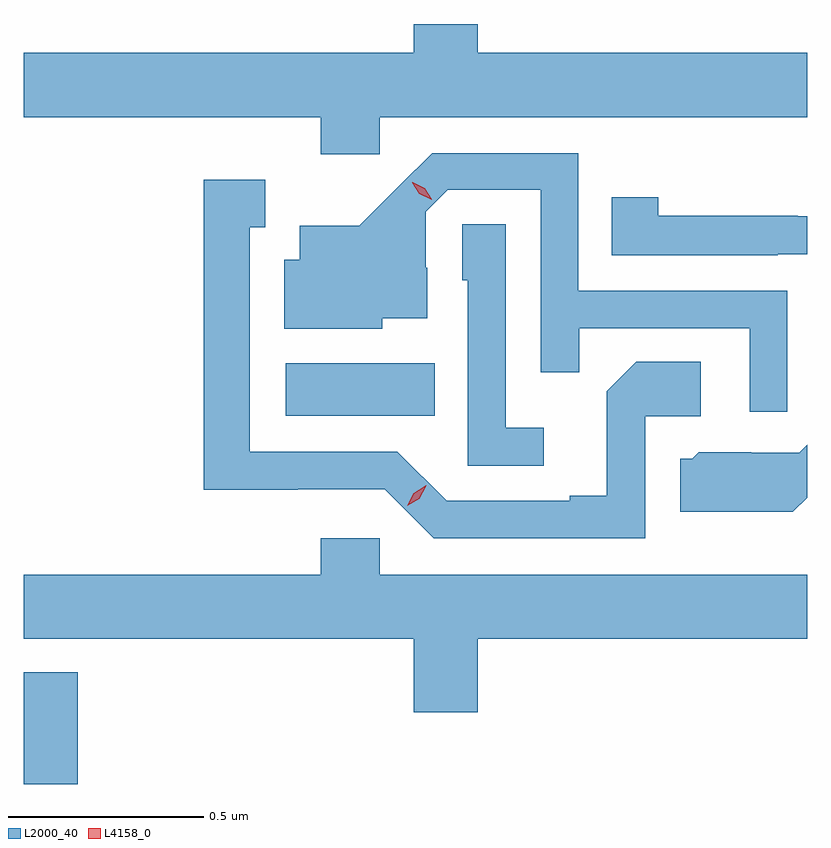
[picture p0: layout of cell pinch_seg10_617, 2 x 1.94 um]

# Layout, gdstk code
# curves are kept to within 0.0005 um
import gdstk
lib = gdstk.Library(unit=1e-6, precision=1e-09)
def R(c, l, rs):  # rectangles x0, y0, x1, y1
    for r in rs: c.add(gdstk.rectangle(r[:2], r[2:], *l))
def P(c, l, *ps):  # polygons
    for p in ps: c.add(gdstk.Polygon(p, *l))
L2000_40 = (2000, 40)
L4158_0 = (4158, 0)

pinch_seg10_617 = lib.new_cell('pinch_seg10_617')
R(pinch_seg10_617, L2000_40, [(379.797,1266.645,379.934,1266.931), (380.466,1267.586,380.846,1267.72)])
P(pinch_seg10_617, L2000_40, [(380.706,1268.348),(381.797,1268.348),(381.797,1268.512),(380.956,1268.512),(380.956,1268.586),(380.792,1268.586),(380.792,1268.512),(379.797,1268.512),(379.797,1268.348),(380.555,1268.348),(380.555,1268.253),(380.706,1268.253)],
  [(381.747,1267.905),(381.213,1267.905),(381.213,1268.256),(380.84,1268.256),(380.653,1268.071),(380.501,1268.071),(380.501,1267.984),(380.462,1267.984),(380.462,1267.808),(380.712,1267.808),(380.712,1267.835),(380.827,1267.835),(380.827,1267.964),(380.823,1267.964),(380.823,1268.106),(380.88,1268.163),(381.117,1268.163),(381.117,1267.696),(381.215,1267.696),(381.215,1267.809),(381.651,1267.809),(381.651,1267.596),(381.747,1267.596)],
  [(381.384,1267.584),(381.526,1267.584),(381.526,1267.724),(381.361,1267.724),(381.285,1267.648),(381.285,1267.381),(381.191,1267.381),(381.191,1267.368),(380.877,1267.368),(380.751,1267.494),(380.374,1267.494),(380.374,1268.067),(380.413,1268.067),(380.413,1268.188),(380.256,1268.188),(380.256,1267.397),(380.496,1267.397),(380.496,1267.398),(380.718,1267.398),(380.844,1267.272),(381.384,1267.272)],
  [(381.722,1267.998),(381.797,1267.998),(381.797,1268.095),(381.773,1268.095),(381.773,1268.096),(381.417,1268.096),(381.417,1268.143),(381.298,1268.143),(381.298,1267.995),(381.722,1267.995)],
  [(381.124,1267.555),(381.027,1267.555),(381.027,1268.075),(380.916,1268.075),(380.916,1267.932),(380.931,1267.932),(380.931,1267.458),(381.124,1267.458)],
  [(381.797,1267.376),(381.797,1267.511),(381.777,1267.491),(381.654,1267.491),(381.654,1267.492),(381.52,1267.492),(381.504,1267.476),(381.473,1267.476),(381.473,1267.34),(381.761,1267.34)],
  [(380.956,1267.016),(381.797,1267.016),(381.797,1267.18),(380.706,1267.18),(380.706,1267.273),(380.555,1267.273),(380.555,1267.18),(379.797,1267.18),(379.797,1267.016),(380.792,1267.016),(380.792,1266.828),(380.956,1266.828)])
P(pinch_seg10_617, L4158_0, [(380.838,1268.137),(380.807,1268.152),(380.789,1268.181),(380.789,1268.182),(380.79,1268.182),(380.82,1268.167),(380.838,1268.138),(380.838,1268.137)],
  [(380.776,1267.355),(380.776,1267.355),(380.793,1267.388),(380.824,1267.408),(380.824,1267.408),(380.824,1267.407),(380.807,1267.374),(380.776,1267.355)])

lib.write_gds('pinch_seg10_617.gds')
